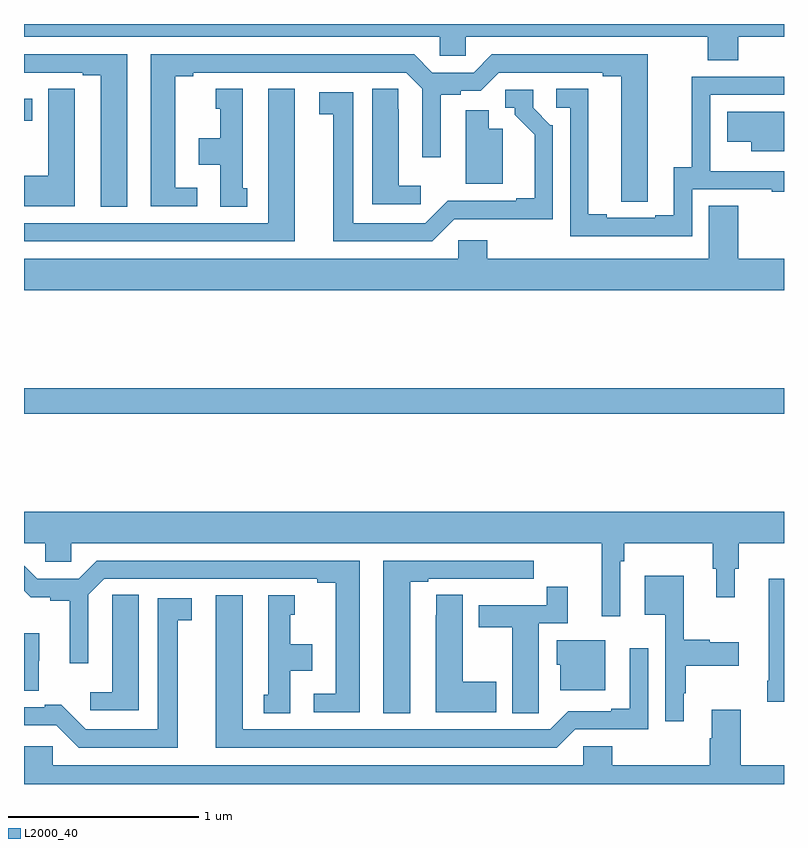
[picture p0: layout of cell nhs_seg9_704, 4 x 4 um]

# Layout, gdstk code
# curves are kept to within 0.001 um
import gdstk
lib = gdstk.Library(unit=1e-6, precision=1e-09)
def R(c, l, rs):  # rectangles x0, y0, x1, y1
    for r in rs: c.add(gdstk.rectangle(r[:2], r[2:], *l))
def P(c, l, *ps):  # polygons
    for p in ps: c.add(gdstk.Polygon(p, *l))
L2000_40 = (2000, 40)

nhs_seg9_704 = lib.new_cell('nhs_seg9_704')
R(nhs_seg9_704, L2000_40, [(147,1182.448,151,1182.584), (147,1183.99,147.043,1184.106)])
P(nhs_seg9_704, L2000_40, [(150.758,1184.432),(151,1184.432),(151,1184.5),(147,1184.5),(147,1184.432),(149.187,1184.432),(149.187,1184.334),(149.325,1184.334),(149.325,1184.432),(150.598,1184.432),(150.598,1184.308),(150.758,1184.308)],
  [(147.544,1184.34),(147,1184.34),(147,1184.243),(147.032,1184.243),(147.032,1184.244),(147.308,1184.244),(147.308,1184.229),(147.404,1184.229),(147.404,1183.537),(147.544,1183.537)],
  [(147.913,1183.638),(147.796,1183.638),(147.796,1184.224),(147.892,1184.224),(147.892,1184.244),(149.013,1184.244),(149.097,1184.16),(149.097,1183.8),(149.194,1183.8),(149.194,1184.128),(149.298,1184.128),(149.298,1184.148),(149.403,1184.148),(149.499,1184.244),(150.047,1184.244),(150.047,1184.224),(150.143,1184.224),(150.143,1183.564),(150.282,1183.564),(150.283,1184.34),(149.463,1184.34),(149.367,1184.244),(149.149,1184.244),(149.053,1184.34),(147.668,1184.34),(147.668,1183.542),(147.913,1183.542)],
  [(150.516,1183.629),(150.935,1183.629),(150.935,1183.617),(151,1183.617),(151,1183.725),(150.614,1183.725),(150.614,1183.726),(150.612,1183.726),(150.612,1184.127),(151,1184.127),(151,1184.223),(150.514,1184.223),(150.514,1183.745),(150.419,1183.745),(150.419,1183.494),(150.323,1183.494),(150.323,1183.479),(150.067,1183.479),(150.067,1183.499),(149.971,1183.499),(149.971,1184.159),(149.802,1184.159),(149.802,1184.058),(149.874,1184.058),(149.874,1183.383),(150.516,1183.383)],
  [(149.089,1183.648),(148.972,1183.648),(148.972,1184.051),(148.971,1184.051),(148.971,1184.159),(148.832,1184.159),(148.832,1183.551),(149.089,1183.551)],
  [(147.268,1184.051),(147.267,1184.051),(147.267,1184.159),(147.128,1184.159),(147.128,1183.701),(147,1183.701),(147,1183.541),(147.268,1183.541)],
  [(148.426,1184.158),(148.286,1184.158),(148.286,1183.452),(147,1183.452),(147,1183.356),(148.426,1183.356)],
  [(148.174,1183.635),(148.15,1183.635),(148.15,1184.158),(148.01,1184.158),(148.01,1184.055),(148.034,1184.055),(148.034,1183.9),(147.92,1183.9),(147.92,1183.76),(148.034,1183.76),(148.034,1183.537),(148.174,1183.537)],
  [(149.265,1183.473),(149.784,1183.472),(149.784,1183.968),(149.769,1183.968),(149.679,1184.058),(149.679,1184.154),(149.532,1184.154),(149.532,1184.058),(149.582,1184.058),(149.582,1184.023),(149.687,1183.918),(149.687,1183.582),(149.591,1183.582),(149.591,1183.569),(149.229,1183.569),(149.112,1183.452),(148.732,1183.452),(148.732,1184.142),(148.554,1184.142),(148.554,1184.026),(148.628,1184.026),(148.628,1183.356),(149.148,1183.356)],
  [(149.521,1183.948),(149.446,1183.948),(149.446,1184.047),(149.324,1184.047),(149.324,1183.658),(149.521,1183.658)],
  [(151,1184.038),(150.702,1184.038),(150.702,1183.88),(150.827,1183.88),(150.827,1183.829),(151,1183.829)],
  [(151,1183.264),(150.758,1183.264),(150.758,1183.544),(150.605,1183.544),(150.605,1183.264),(149.438,1183.264),(149.438,1183.362),(149.286,1183.362),(149.286,1183.264),(147,1183.264),(147,1183.1),(151,1183.1)],
  [(150.138,1181.672),(150.158,1181.672),(150.158,1181.768),(150.625,1181.768),(150.625,1181.634),(150.644,1181.634),(150.644,1181.484),(150.742,1181.484),(150.742,1181.634),(150.761,1181.634),(150.761,1181.768),(151,1181.768),(151,1181.932),(147,1181.932),(147,1181.768),(147.111,1181.768),(147.111,1181.67),(147.249,1181.67),(147.249,1181.768),(150.041,1181.768),(150.041,1181.382),(150.138,1181.382)],
  [(149.032,1181.565),(149.128,1181.565),(149.128,1181.58),(149.404,1181.58),(149.404,1181.579),(149.57,1181.579),(149.57,1181.58),(149.683,1181.58),(149.683,1181.676),(148.892,1181.676),(148.892,1180.873),(149.032,1180.873)],
  [(148.768,1181.676),(147.383,1181.676),(147.287,1181.58),(147.069,1181.58),(147,1181.649),(147,1181.518),(147.035,1181.483),(147.138,1181.483),(147.138,1181.464),(147.242,1181.464),(147.242,1181.136),(147.339,1181.136),(147.339,1181.496),(147.423,1181.58),(148.544,1181.58),(148.544,1181.56),(148.64,1181.56),(148.64,1180.974),(148.524,1180.974),(148.524,1180.878),(148.768,1180.878)],
  [(150.472,1180.978),(150.484,1180.978),(150.484,1181.123),(150.763,1181.123),(150.763,1181.245),(150.609,1181.245),(150.609,1181.258),(150.472,1181.258),(150.472,1181.596),(150.266,1181.596),(150.266,1181.39),(150.375,1181.39),(150.375,1180.83),(150.472,1180.83)],
  [(151,1181.581),(150.92,1181.581),(150.92,1181.044),(150.913,1181.044),(150.913,1180.932),(151,1180.932)],
  [(149.709,1180.984),(149.71,1180.984),(149.71,1181.346),(149.861,1181.346),(149.861,1181.539),(149.752,1181.539),(149.752,1181.442),(149.393,1181.442),(149.393,1181.326),(149.57,1181.326),(149.57,1180.873),(149.709,1180.873)],
  [(147.604,1181.495),(147.465,1181.495),(147.465,1181.387),(147.464,1181.387),(147.464,1180.984),(147.348,1180.984),(147.348,1180.887),(147.604,1180.887)],
  [(149.485,1181.037),(149.308,1181.037),(149.308,1181.495),(149.169,1181.495),(149.169,1181.387),(149.168,1181.387),(149.168,1180.877),(149.485,1180.877)],
  [(149.901,1180.788),(150.285,1180.788),(150.285,1181.215),(150.188,1181.215),(150.188,1180.897),(150.092,1180.897),(150.092,1180.884),(149.865,1180.884),(149.769,1180.788),(148.15,1180.788),(148.15,1181.494),(148.01,1181.494),(148.01,1180.692),(149.805,1180.692)],
  [(148.402,1181.096),(148.516,1181.096),(148.516,1181.236),(148.402,1181.236),(148.402,1181.391),(148.426,1181.391),(148.426,1181.494),(148.286,1181.494),(148.286,1180.971),(148.262,1180.971),(148.262,1180.873),(148.402,1180.873)],
  [(147.808,1181.362),(147.883,1181.362),(147.883,1181.478),(147.704,1181.478),(147.704,1180.788),(147.324,1180.788),(147.196,1180.916),(147.11,1180.916),(147.11,1180.905),(147,1180.905),(147,1180.809),(147.171,1180.809),(147.288,1180.692),(147.808,1180.692)],
  [(147.078,1181.148),(147.079,1181.148),(147.079,1181.293),(147,1181.293),(147,1180.99),(147.078,1180.99)],
  [(150.058,1181.257),(149.804,1181.257),(149.804,1181.127),(149.822,1181.127),(149.822,1180.994),(150.058,1180.994)],
  [(151,1180.6),(150.773,1180.6),(150.773,1180.891),(150.62,1180.891),(150.62,1180.742),(150.608,1180.742),(150.608,1180.6),(150.095,1180.6),(150.095,1180.698),(149.943,1180.698),(149.943,1180.6),(147.15,1180.6),(147.15,1180.698),(147,1180.698),(147,1180.5),(151,1180.5)])

lib.write_gds('nhs_seg9_704.gds')
